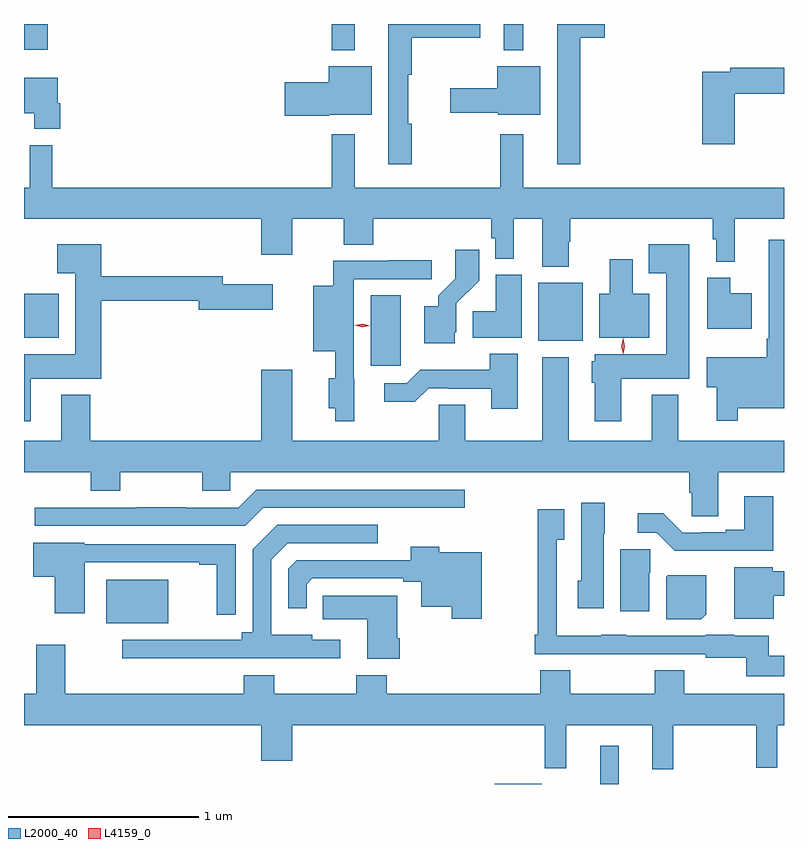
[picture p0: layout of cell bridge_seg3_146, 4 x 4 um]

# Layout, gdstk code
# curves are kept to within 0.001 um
import gdstk
lib = gdstk.Library(unit=1e-6, precision=1e-09)
def R(c, l, rs):  # rectangles x0, y0, x1, y1
    for r in rs: c.add(gdstk.rectangle(r[:2], r[2:], *l))
def P(c, l, *ps):  # polygons
    for p in ps: c.add(gdstk.Polygon(p, *l))
L2000_40 = (2000, 40)
L4159_0 = (4159, 0)

bridge_seg3_146 = lib.new_cell('bridge_seg3_146')
R(bridge_seg3_146, L2000_40, [(573.828,691.282,574.076,691.284), (574.383,691.282,574.48,691.483), (571.784,692.129,572.11,692.356), (573.176,693.483,573.334,693.854), (574.058,693.614,574.291,693.919), (571.351,693.632,571.534,693.862), (572.97,695.144,573.091,695.282), (573.875,695.144,573.979,695.282), (571.351,695.147,571.476,695.282)])
P(bridge_seg3_146, L2000_40, [(574.279,695.21),(574.408,695.21),(574.408,695.282),(574.157,695.282),(574.157,694.545),(574.279,694.545)],
  [(573.391,694.757),(573.373,694.757),(573.373,695.014),(573.391,695.014),(573.391,695.21),(573.751,695.21),(573.751,695.282),(573.269,695.282),(573.269,694.545),(573.391,694.545)],
  [(572.958,694.805),(573.181,694.805),(573.181,695.059),(572.954,695.059),(572.954,694.976),(572.724,694.976),(572.724,694.798),(572.958,694.798)],
  [(574.069,695.059),(573.842,695.059),(573.842,694.945),(573.594,694.945),(573.594,694.816),(573.846,694.816),(573.846,694.805),(574.069,694.805)],
  [(575.092,694.915),(575.351,694.915),(575.351,695.051),(575.068,695.051),(575.068,695.031),(574.922,695.031),(574.922,694.65),(575.092,694.65)],
  [(571.541,694.866),(571.528,694.866),(571.528,694.999),(571.351,694.999),(571.351,694.811),(571.406,694.811),(571.406,694.73),(571.541,694.73)],
  [(574.219,694.136),(574.227,694.136),(574.227,694.256),(574.975,694.256),(574.975,694.149),(574.994,694.149),(574.994,694.031),(575.093,694.031),(575.093,694.256),(575.351,694.256),(575.351,694.42),(573.979,694.42),(573.979,694.702),(573.858,694.702),(573.858,694.42),(573.091,694.42),(573.091,694.702),(572.97,694.702),(572.97,694.42),(571.499,694.42),(571.499,694.645),(571.382,694.645),(571.382,694.42),(571.351,694.42),(571.351,694.256),(572.6,694.256),(572.6,694.068),(572.764,694.068),(572.764,694.256),(573.035,694.256),(573.035,694.12),(573.188,694.12),(573.188,694.256),(573.811,694.256),(573.811,694.155),(573.831,694.155),(573.831,694.046),(573.928,694.046),(573.928,694.256),(574.079,694.256),(574.079,694.004),(574.219,694.004)],
  [(575.107,693.26),(575.351,693.26),(575.351,694.147),(575.271,694.147),(575.271,693.625),(575.259,693.625),(575.259,693.529),(574.944,693.529),(574.944,693.371),(574.997,693.371),(574.997,693.195),(575.107,693.195)],
  [(574.495,693.416),(574.852,693.416),(574.852,694.123),(574.64,694.123),(574.64,693.971),(574.73,693.971),(574.73,693.544),(574.355,693.544),(574.355,693.507),(574.34,693.507),(574.34,693.393),(574.355,693.393),(574.355,693.192),(574.495,693.192)],
  [(571.387,693.416),(571.757,693.416),(571.757,693.826),(572.27,693.826),(572.27,693.779),(572.659,693.779),(572.659,693.913),(572.398,693.913),(572.398,693.955),(571.757,693.955),(571.757,694.123),(571.527,694.123),(571.527,693.971),(571.622,693.971),(571.622,693.544),(571.351,693.544),(571.351,693.192),(571.387,693.192)],
  [(573.619,693.66),(573.627,693.66),(573.627,693.811),(573.746,693.93),(573.746,694.093),(573.621,694.093),(573.621,693.941),(573.53,693.851),(573.53,693.796),(573.458,693.796),(573.458,693.603),(573.619,693.603)],
  [(574.642,693.862),(574.555,693.862),(574.555,694.045),(574.433,694.045),(574.433,693.862),(574.379,693.862),(574.379,693.632),(574.642,693.632)],
  [(573.088,693.414),(573.087,693.414),(573.087,693.939),(573.496,693.939),(573.496,694.038),(573.271,694.038),(573.271,694.035),(572.979,694.035),(572.979,693.904),(572.873,693.904),(572.873,693.56),(572.989,693.56),(572.989,693.418),(572.954,693.418),(572.954,693.26),(572.989,693.26),(572.989,693.192),(573.088,693.192)],
  [(573.97,693.961),(573.833,693.961),(573.833,693.77),(573.712,693.77),(573.712,693.632),(573.97,693.632)],
  [(575.182,693.865),(575.068,693.865),(575.068,693.946),(574.946,693.946),(574.946,693.677),(575.182,693.677)],
  [(573.949,693.547),(573.802,693.547),(573.802,693.461),(573.437,693.461),(573.366,693.39),(573.246,693.39),(573.246,693.293),(573.407,693.293),(573.48,693.366),(573.58,693.366),(573.58,693.363),(573.809,693.363),(573.809,693.258),(573.949,693.258)],
  [(575.005,692.924),(575.351,692.924),(575.351,693.088),(574.795,693.088),(574.795,693.331),(574.655,693.331),(574.655,693.088),(574.219,693.088),(574.219,693.529),(574.079,693.529),(574.079,693.088),(573.673,693.088),(573.673,693.278),(573.534,693.278),(573.534,693.088),(572.764,693.088),(572.764,693.463),(572.6,693.463),(572.6,693.088),(571.7,693.088),(571.7,693.331),(571.547,693.331),(571.547,693.088),(571.351,693.088),(571.351,692.924),(571.702,692.924),(571.702,692.825),(571.857,692.825),(571.857,692.924),(572.29,692.924),(572.29,692.826),(572.436,692.826),(572.436,692.924),(574.853,692.924),(574.853,692.814),(574.866,692.814),(574.866,692.692),(575.005,692.692)],
  [(572.611,692.736),(573.67,692.735),(573.67,692.832),(572.574,692.832),(572.478,692.736),(572.201,692.736),(572.201,692.738),(571.945,692.738),(571.945,692.736),(571.407,692.736),(571.407,692.64),(572.515,692.64)],
  [(575.294,692.797),(575.141,692.797),(575.141,692.62),(575.045,692.62),(575.045,692.607),(574.918,692.607),(574.918,692.604),(574.818,692.604),(574.716,692.707),(574.581,692.707),(574.581,692.604),(574.68,692.604),(574.775,692.51),(575.294,692.51)],
  [(574.402,692.598),(574.408,692.598),(574.408,692.761),(574.283,692.761),(574.283,692.352),(574.265,692.352),(574.265,692.208),(574.402,692.208)],
  [(575.351,691.957),(575.272,691.957),(575.272,692.062),(575.088,692.062),(575.088,692.068),(574.938,692.068),(574.938,692.061),(574.521,692.061),(574.521,692.068),(574.389,692.068),(574.389,692.062),(574.155,692.062),(574.155,692.567),(574.195,692.567),(574.195,692.728),(574.054,692.728),(574.054,692.068),(574.039,692.068),(574.039,691.965),(574.289,691.965),(574.289,691.964),(574.521,691.964),(574.521,691.965),(574.938,691.965),(574.938,691.946),(575.151,691.946),(575.151,691.848),(575.351,691.848)],
  [(573.016,692.04),(572.868,692.04),(572.868,692.068),(572.652,692.068),(572.652,692.463),(572.739,692.55),(573.214,692.55),(573.214,692.646),(572.684,692.646),(572.556,692.518),(572.556,692.081),(572.496,692.081),(572.496,692.041),(571.869,692.04),(571.869,691.943),(573.016,691.943)],
  [(572.466,692.544),(571.668,692.544),(571.668,692.551),(571.4,692.551),(571.4,692.372),(571.514,692.372),(571.514,692.18),(571.672,692.18),(571.672,692.448),(572.273,692.448),(572.273,692.436),(572.365,692.436),(572.365,692.172),(572.466,692.172)],
  [(573.76,692.503),(573.537,692.503),(573.537,692.53),(573.386,692.53),(573.386,692.46),(572.787,692.46),(572.742,692.415),(572.742,692.208),(572.838,692.208),(572.838,692.333),(572.869,692.364),(573.347,692.364),(573.347,692.346),(573.443,692.346),(573.443,692.216),(573.602,692.216),(573.602,692.151),(573.76,692.151)],
  [(574.642,692.394),(574.646,692.394),(574.646,692.517),(574.49,692.517),(574.49,692.19),(574.642,692.19)],
  [(575.296,692.272),(575.351,692.272),(575.351,692.401),(575.292,692.401),(575.292,692.422),(575.09,692.422),(575.09,692.153),(575.296,692.153)],
  [(574.942,692.176),(574.942,692.38),(574.738,692.38),(574.73,692.372),(574.73,692.15),(574.916,692.15)],
  [(573.329,692.05),(573.316,692.05),(573.316,692.272),(572.923,692.272),(572.923,692.15),(573.158,692.15),(573.158,691.94),(573.329,691.94)],
  [(574.768,691.592),(575.205,691.592),(575.205,691.367),(575.315,691.367),(575.315,691.592),(575.351,691.592),(575.351,691.756),(574.827,691.756),(574.827,691.88),(574.672,691.88),(574.672,691.756),(574.227,691.756),(574.227,691.88),(574.067,691.88),(574.067,691.756),(573.26,691.756),(573.26,691.855),(573.1,691.855),(573.1,691.756),(572.667,691.756),(572.667,691.855),(572.507,691.855),(572.507,691.756),(571.568,691.756),(571.568,692.014),(571.415,692.014),(571.415,691.756),(571.351,691.756),(571.351,691.592),(572.6,691.592),(572.6,691.404),(572.764,691.404),(572.764,691.592),(574.091,691.592),(574.091,691.364),(574.205,691.364),(574.205,691.592),(574.658,691.592),(574.658,691.359),(574.768,691.359)])
P(bridge_seg3_146, L4159_0, [(574.505,693.546),(574.504,693.547),(574.494,693.587),(574.504,693.627),(574.504,693.627),(574.504,693.627),(574.514,693.587),(574.505,693.547)],
  [(573.132,693.685),(573.093,693.696),(573.093,693.696),(573.093,693.696),(573.133,693.705),(573.172,693.695),(573.172,693.694),(573.172,693.694)])

lib.write_gds('bridge_seg3_146.gds')
